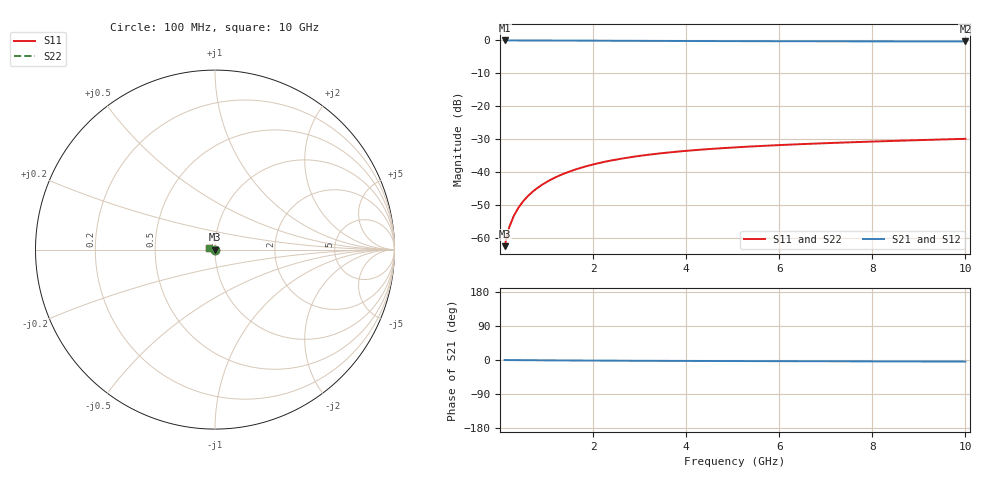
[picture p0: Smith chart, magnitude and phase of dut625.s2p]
! Touchstone file exported from HFSS 2024.1.0
!  File:  C:/UserFiles/LocalFiles/RDL_TSV_Batchsim/temp_TSV1_625_1779789572.aedt
!  Generated:  06:04:58 PM May 26, 2026
!  Design:  TSV1
!  Project:  temp_TSV1_625_1779789572
!  Setup:  Setup1
!  Solution:  Sweep
! Variables:
!  dtsv = 7.39um
!  hbump = 3um
!  htsv = 62.8um
!  lrdl = 252.1521522um
!  p = 40
!  p1 = 44.68um
!  t = 500um
!  trdl = 3um
!  wrdl = 24.89489489um
# GHz S MA R 50.000000
! Terminal data exported
! Port[1] = TSV22_T1
! Port[2] = TSV22_T2
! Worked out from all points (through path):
!   100 points, 100 MHz to 10 GHz, reference 50 ohm
!   highest |S21| = 0.00 dB at 100 MHz (marker M1); lowest = -0.3 dB at 10 GHz (marker M2)
!   lowest |S11| = -62.5 dB at 100 MHz (marker M3), VSWR 1.00, Z = 50 - j0.0725 ohm
!   |S11| at or under -10 dB: start of sweep to end of sweep
!   |S22| runs from -62.5 to -29.9 dB; largest |S21 - S12| = 1.3e-14
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0.1  0.0007536 -74.1  0.9997 -0.1  0.9997 -0.1  0.0007536 -74.1
! Gamma 0 0 0 0
! Port Impedance 50 0 50 0
0.2  0.001471 -84.6  0.9997 -0.2  0.9997 -0.2  0.001471 -84.6
0.3  0.002193 -89.4  0.9995 -0.3  0.9995 -0.3  0.002193 -89.4
0.4  0.002914 -92.8  0.9994 -0.4  0.9994 -0.4  0.002914 -92.8
0.5  0.003629 -95.5  0.9991 -0.4  0.9991 -0.4  0.003629 -95.5
0.6  0.004339 -97.9  0.9989 -0.5  0.9989 -0.5  0.004339 -97.9
0.7  0.005041 -100.2  0.9986 -0.6  0.9986 -0.6  0.005041 -100.2
0.8  0.005734 -102.3  0.9983 -0.7  0.9983 -0.7  0.005734 -102.3
0.9  0.006417 -104.3  0.9979 -0.8  0.9979 -0.8  0.006417 -104.3
1.1  0.007751 -108.2  0.997 -0.9  0.997 -0.9  0.007751 -108.2
1.4  0.009659 -113.6  0.9956 -1.2  0.9956 -1.2  0.009659 -113.6
1.6  0.01086 -117.1  0.9945 -1.3  0.9945 -1.3  0.01086 -117.1
1.8  0.01201 -120.4  0.9933 -1.4  0.9933 -1.4  0.01201 -120.4
2.1  0.01361 -125.1  0.9915 -1.6  0.9915 -1.6  0.01361 -125.1
2.5  0.01556 -131.0  0.9891 -1.8  0.9891 -1.8  0.01556 -131.0
2.9  0.01728 -136.5  0.9867 -2.0  0.9867 -2.0  0.01728 -136.5
3.4  0.01916 -142.8  0.9839 -2.2  0.9839 -2.2  0.01916 -142.8
4.2  0.02166 -151.7  0.98 -2.5  0.98 -2.5  0.02166 -151.7
5.1  0.02392 -160.3  0.9764 -2.8  0.9764 -2.8  0.02392 -160.3
6.7  0.02706 -172.9  0.9716 -3.3  0.9716 -3.3  0.02706 -172.9
8.4  0.02979 176.3  0.9683 -3.7  0.9683 -3.7  0.02979 176.3
10  0.03212 167.8  0.9661 -4.2  0.9661 -4.2  0.03212 167.8
